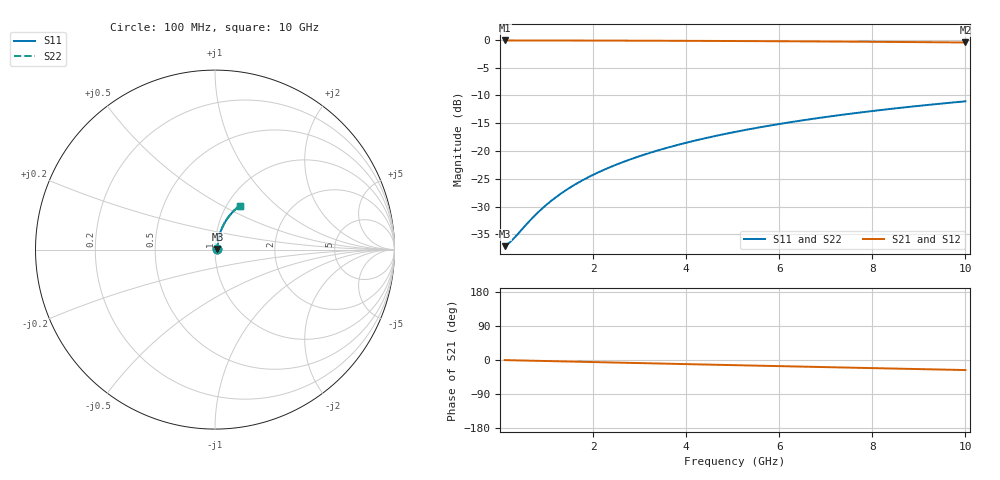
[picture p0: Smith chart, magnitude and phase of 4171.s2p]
# Hz S RI R 50.00
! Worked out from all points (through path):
!   100 points, 100 MHz to 10 GHz, reference 50 ohm
!   highest |S21| = -0.12 dB at 100 MHz (marker M1); lowest = -0.5 dB at 10 GHz (marker M2)
!   group delay of S21, straight-line fit = 7.38 ps
!   lowest |S11| = -37.1 dB at 100 MHz (marker M3), VSWR 1.03, Z = 51.4 + j0.299 ohm
!   |S11| at or under -10 dB: start of sweep to end of sweep
!   |S22| runs from -37.1 to -11.1 dB; largest |S21 - S12| = 0
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1e8  0.0136 0.00291  0.9864 -0.00468  0.9864 -0.00468  0.0136 0.00291
2e8  0.0137 0.00582  0.9862 -0.00937  0.9862 -0.00937  0.0137 0.00582
3e8  0.0139 0.00872  0.9861 -0.014  0.9861 -0.014  0.0139 0.00872
7e8  0.0146 0.0203  0.9853 -0.0328  0.9853 -0.0328  0.0146 0.0203
8e8  0.0148 0.0232  0.985 -0.0374  0.985 -0.0374  0.0148 0.0232
1e9  0.0154 0.029  0.9844 -0.0468  0.9844 -0.0468  0.0154 0.029
1.2e9  0.0161 0.0348  0.9837 -0.0561  0.9837 -0.0561  0.0161 0.0348
1.4e9  0.0168 0.0405  0.9828 -0.0654  0.9828 -0.0654  0.0168 0.0405
1.6e9  0.0177 0.0463  0.9819 -0.0747  0.9819 -0.0747  0.0177 0.0463
1.8e9  0.0187 0.052  0.9808 -0.0839  0.9808 -0.0839  0.0187 0.052
2.1e9  0.0203 0.0605  0.979 -0.0978  0.979 -0.0978  0.0203 0.0605
2.5e9  0.0229 0.0718  0.9761 -0.1162  0.9761 -0.1162  0.0229 0.0718
2.9e9  0.0259 0.083  0.9727 -0.1344  0.9727 -0.1344  0.0259 0.083
3.4e9  0.0302 0.0967  0.9679 -0.1571  0.9679 -0.1571  0.0302 0.0967
3.8e9  0.0341 0.1075  0.9636 -0.175  0.9636 -0.175  0.0341 0.1075
4.2e9  0.0384 0.1182  0.9588 -0.1928  0.9588 -0.1928  0.0384 0.1182
5.1e9  0.0494 0.1413  0.9464 -0.232  0.9464 -0.232  0.0494 0.1413
5.9e9  0.0607 0.161  0.9336 -0.2659  0.9336 -0.2659  0.0607 0.161
6.7e9  0.0734 0.1796  0.9193 -0.2988  0.9193 -0.2988  0.0734 0.1796
7.5e9  0.0872 0.1971  0.9036 -0.3306  0.9036 -0.3306  0.0872 0.1971
8.4e9  0.1042 0.2153  0.8844 -0.365  0.8844 -0.365  0.1042 0.2153
1e10  0.1371 0.2437  0.8465 -0.4222  0.8465 -0.4222  0.1371 0.2437
